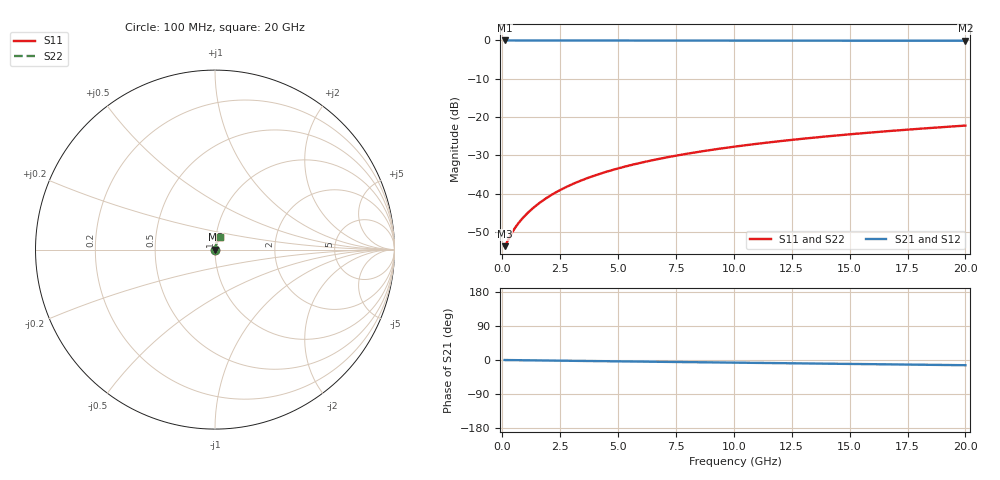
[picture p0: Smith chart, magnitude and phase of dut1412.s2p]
! Touchstone file exported from HFSS 2026.1.0
!  File:  C:/ffzhzh/LocalFiles/Ansys_Project_Files/temp_train_TMRDL_1412_1783166547_43440.aedt
!  Generated:  08:03:36 PM Jul  4, 2026
!  Design:  TMRDL
!  Project:  temp_train_TMRDL_1412_1783166547_43440
! Variables:
!  h_bsmrdl = 2um
!  h_ox = 20um
!  h_rdl = 5um
!  h_sub = 80um
!  h_tmrdl = 3.34um
!  h_tsv = 80um
!  h_via = 3um
!  l_bsmrdl = 300um
!  l_sub = 626.06um
!  l_tmrdl = 226.06um
!  m_sub = 200um
!  pitch = 20.09um
!  r_tsv = 6um
!  s_tmrdl = 10um
!  w_bsmrdl = 18um
!  w_sub = 500um
!  w_tmrdl = 13.18um
!  x_tsv_center1 = 232.65um
!  x_tsv_center2 = 550.65um
!  x_tsv_center3 = 789.89um
!  x_tsv_center4 = 1107.89um
!  x_tsv_center5 = 1347.13um
!  x_tsv_center6 = 1665.13um
# GHz S MA R 50.000000
! Terminal data exported
! Port[1] = TM_RDL1_1_T1
! Port[2] = TM_RDL1_1_T2
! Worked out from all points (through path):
!   200 points, 100 MHz to 20 GHz, reference 50 ohm
!   highest |S21| = -0.02 dB at 100 MHz (marker M1); lowest = -0.1 dB at 20 GHz (marker M2)
!   group delay of S21, straight-line fit = 1.91 ps
!   lowest |S11| = -53.7 dB at 100 MHz (marker M3), VSWR 1.00, Z = 50.2 + j0.0555 ohm
!   |S11| at or under -10 dB: start of sweep to end of sweep
!   |S22| runs from -53.7 to -22.2 dB; largest |S21 - S12| = 2.2e-15
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0.1  0.002071 15.5  0.998 -0.1  0.998 -0.1  0.002071 15.5
! Gamma 0 0 0 0
! Port Impedance 50 0 50 0
0.2  0.002328 27.7  0.9979 -0.2  0.9979 -0.2  0.002328 27.7
0.4  0.003032 42.4  0.9978 -0.3  0.9978 -0.3  0.003032 42.4
0.5  0.003402 46.9  0.9977 -0.4  0.9977 -0.4  0.003402 46.9
0.7  0.004139 53.4  0.9976 -0.5  0.9976 -0.5  0.004139 53.4
1  0.00525 60.0  0.9974 -0.7  0.9974 -0.7  0.00525 60.0
1.2  0.006007 63.2  0.9974 -0.9  0.9974 -0.9  0.006007 63.2
1.4  0.006779 65.7  0.9973 -1.0  0.9973 -1.0  0.006779 65.7
1.8  0.008356 69.4  0.9972 -1.3  0.9972 -1.3  0.008356 69.4
2.3  0.01037 72.3  0.9971 -1.6  0.9971 -1.6  0.01037 72.3
2.9  0.01282 74.4  0.9969 -2.1  0.9969 -2.1  0.01282 74.4
3.5  0.01527 75.6  0.9967 -2.5  0.9967 -2.5  0.01527 75.6
4.2  0.01814 76.4  0.9965 -3.0  0.9965 -3.0  0.01814 76.4
5  0.02139 76.8  0.9962 -3.5  0.9962 -3.5  0.02139 76.8
5.9  0.02502 76.9  0.9958 -4.2  0.9958 -4.2  0.02502 76.9
6.8  0.02861 76.8  0.9954 -4.8  0.9954 -4.8  0.02861 76.8
8.3  0.03449 76.3  0.9947 -5.8  0.9947 -5.8  0.03449 76.3
10.1  0.0414 75.6  0.9938 -7.1  0.9938 -7.1  0.0414 75.5
11.7  0.04743 74.8  0.993 -8.2  0.993 -8.2  0.04743 74.7
13.4  0.05372 73.9  0.9922 -9.3  0.9922 -9.3  0.05372 73.9
16.7  0.0657 72.1  0.9906 -11.5  0.9906 -11.5  0.0657 72.1
20  0.07742 70.3  0.9889 -13.8  0.9889 -13.8  0.07742 70.3
